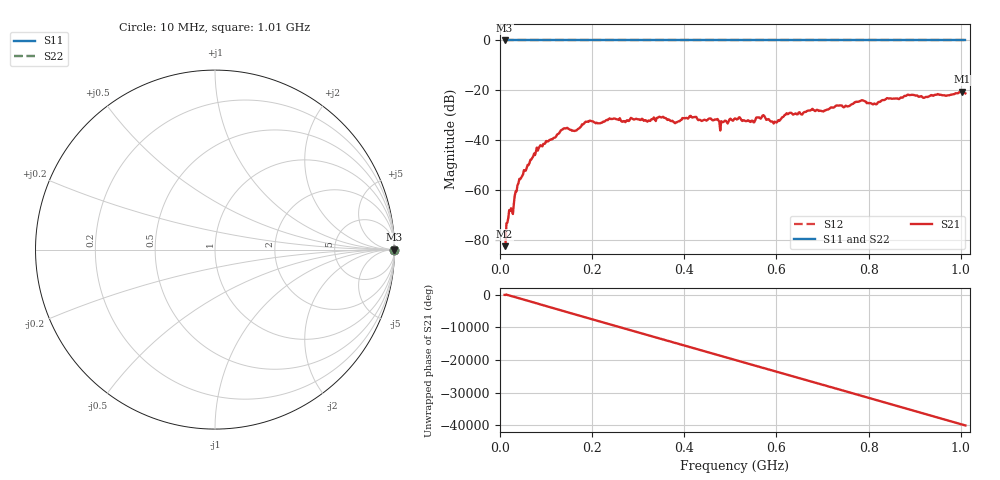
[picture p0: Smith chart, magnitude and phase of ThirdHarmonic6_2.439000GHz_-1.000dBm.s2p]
! 8/17/2025 4:16:52 AM
! C:\ANRITSUVNA\TEMP\TEMP.S2P
! CHANNEL.1
! TR.MEASUREMENT
! RAW.DATA
! RF.CORRECTION.OFF
! AVERAGING.OFF
! IF.BANDWIDTH: 5KHZ
! SWEEPTYPE:  FREQ.SWEEP(Linear)
! Reference Plane Port Info
! PORT:  PORT1  PORT2
! DISTANCE:  0  m  0  m
! TIME:  0  s  0  s
! PHASE.OFFSET:  0  deg.  0  deg.
! LOSS:  0  dB  0  dB
! REF.LOSS:  0  dB  0  dB
! REF.FREQ:  0  Hz  0  Hz
! Power Info
! POWER:  -20  dBm  -20  dBm
! EFF.POWER:  -20  dBm  -20  dBm
! SOURCE.ATTEN:  0  dB  0  dB
! TEST.ATTEN:  0  dB  0  dB
# GHZ S RI R 50.0
! FREQ.GHZ  S11RE  S11IM  S21RE  S21IM  S12RE  S12IM  S22RE  S22IM
!; PortSelection: Port_12
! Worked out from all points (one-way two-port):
!   501 points, 10 MHz to 1.01 GHz, reference 50 ohm
!   highest |S21| = -20.53 dB at 1.002 GHz (marker M1); lowest = -82.6 dB at 10 MHz (marker M2)
!   lowest |S11| = 0.0 dB at 10 MHz (marker M3)
!   |S11| at or under -10 dB: nowhere
!   |S22| runs from 0.0 to 0.0 dB; largest |S21 - S12| = 1.1
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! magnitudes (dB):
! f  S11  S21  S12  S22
! 10 MHz  0.0  -82.6  0.0  0.0
! 18 MHz  0.0  -71.2  0.0  0.0
! 26 MHz  0.0  -68.3  0.0  0.0
! 42 MHz  0.0  -55.6  0.0  0.0
! 76 MHz  0.0  -46.0  0.0  0.0
! 136 MHz  0.0  -35.7  0.0  0.0
! 162 MHz  0.0  -36.3  0.0  0.0
! 178 MHz  0.0  -33.7  0.0  0.0
! 344 MHz  0.0  -30.8  0.0  0.0
! 380 MHz  0.0  -33.2  0.0  0.0
! 416 MHz  0.0  -30.8  0.0  0.0
! 480 MHz  0.0  -32.4  0.0  0.0
! 510 MHz  0.0  -31.3  0.0  0.0
! 548 MHz  0.0  -32.2  0.0  0.0
! 572 MHz  0.0  -30.0  0.0  0.0
! 598 MHz  0.0  -32.7  0.0  0.0
! 626 MHz  0.0  -29.5  0.0  0.0
! 678 MHz  0.0  -27.4  0.0  0.0
! 814 MHz  0.0  -25.4  0.0  0.0
! 844 MHz  0.0  -23.3  0.0  0.0
! 1.002 GHz  0.0  -20.5  0.0  0.0
! 1.01 GHz  0.0  -21.2  0.0  0.0
